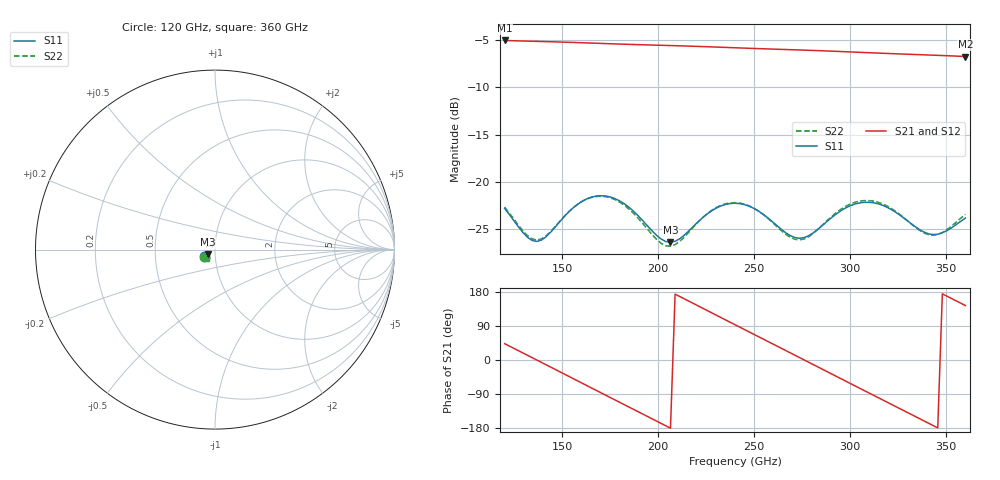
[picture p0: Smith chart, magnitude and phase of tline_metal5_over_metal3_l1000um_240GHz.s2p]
#  GHZ S DB R 50
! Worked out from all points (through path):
!   101 points, 120 GHz to 360 GHz, reference 50 ohm
!   highest |S21| = -5.09 dB at 120 GHz (marker M1); lowest = -6.8 dB at 360 GHz (marker M2)
!   group delay of S21, straight-line fit = 7.17 ps
!   lowest |S11| = -26.3 dB at 206.4 GHz (marker M3), VSWR 1.10, Z = 46.1 - j2.52 ohm
!   |S11| at or under -10 dB: start of sweep to end of sweep
!   |S22| runs from -26.8 to -21.5 dB; largest |S21 - S12| = 6.3e-14
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120  -22.78 -148.1  -5.09 43.1  -5.09 43.1  -22.65 -148.0
132  -25.83 -142.6  -5.17 12.2  -5.17 12.2  -25.66 -142.9
139.2  -26.11 -129.3  -5.21 -6.3  -5.21 -6.3  -25.99 -130.0
148.8  -24.16 -120.5  -5.26 -31.2  -5.26 -31.2  -24.12 -121.2
160.8  -21.98 -128.3  -5.34 -62.3  -5.34 -62.3  -21.99 -128.6
170.4  -21.44 -140.0  -5.41 -87.1  -5.41 -87.1  -21.50 -140.3
180  -22.00 -151.5  -5.48 -111.8  -5.48 -111.8  -22.12 -151.7
192  -24.08 -159.3  -5.55 -142.8  -5.55 -142.8  -24.38 -159.1
201.6  -26.02 -153.0  -5.60 -167.6  -5.60 -167.6  -26.47 -151.2
206.4  -26.35 -145.6  -5.63 -180.0  -5.63 -180.0  -26.76 -142.5
216  -25.14 -134.1  -5.69 155.2  -5.69 155.2  -25.27 -130.0
225.6  -23.35 -134.9  -5.76 130.3  -5.76 130.3  -23.32 -131.2
240  -22.24 -147.8  -5.86 93.1  -5.86 93.1  -22.17 -144.8
249.6  -22.76 -156.8  -5.94 68.3  -5.94 68.3  -22.73 -154.0
261.6  -24.55 -161.0  -6.02 37.4  -6.02 37.4  -24.65 -158.0
271.2  -25.85 -153.4  -6.08 12.6  -6.08 12.6  -26.03 -149.2
280.8  -25.35 -141.8  -6.15 -12.2  -6.15 -12.2  -25.40 -136.4
302.4  -22.32 -146.6  -6.32 -68.0  -6.32 -68.0  -22.14 -141.5
312  -22.18 -155.5  -6.40 -92.7  -6.40 -92.7  -22.01 -150.6
321.6  -22.92 -163.0  -6.48 -117.4  -6.48 -117.4  -22.81 -158.1
340.8  -25.46 -158.5  -6.63 -166.8  -6.63 -166.8  -25.55 -151.3
360  -23.80 -146.0  -6.79 143.7  -6.79 143.7  -23.40 -136.2
